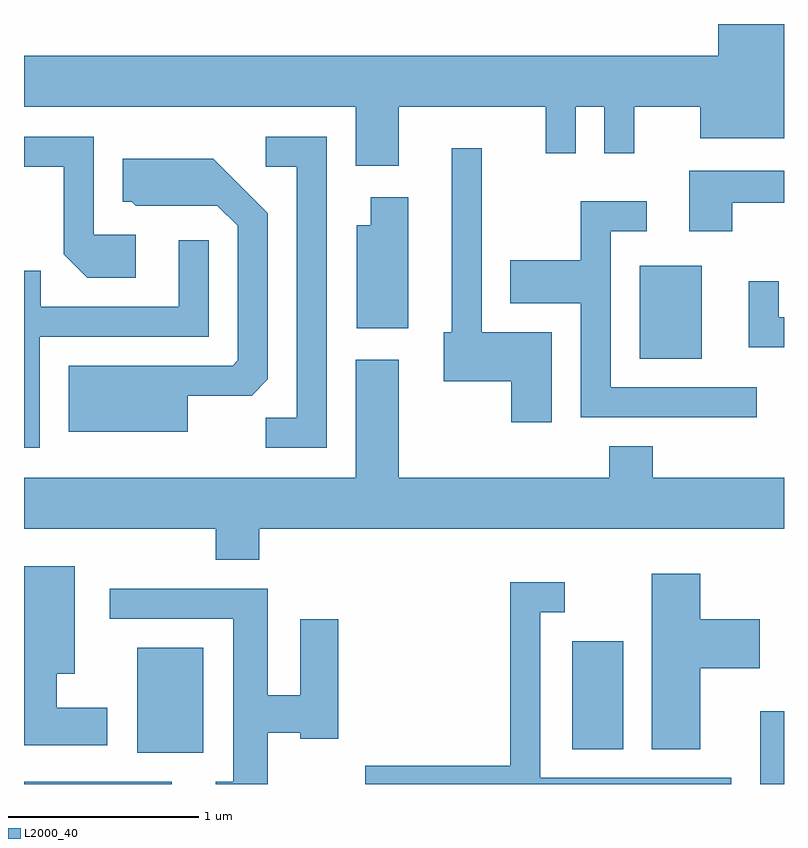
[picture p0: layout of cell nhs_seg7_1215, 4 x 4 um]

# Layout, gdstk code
import gdstk
lib = gdstk.Library(unit=1e-6, precision=1e-09)
def R(c, l, rs):  # rectangles x0, y0, x1, y1
    for r in rs: c.add(gdstk.rectangle(r[:2], r[2:], *l))
def P(c, l, *ps):  # polygons
    for p in ps: c.add(gdstk.Polygon(p, *l))
L2000_40 = (2000, 40)

nhs_seg7_1215 = lib.new_cell('nhs_seg7_1215')
R(nhs_seg7_1215, L2000_40, [(221.611,1766.252,222.389,1766.264), (225.486,1766.252,225.611,1766.634), (222.206,1766.416,222.554,1766.969), (224.496,1766.436,224.764,1767.004), (224.851,1768.491,225.179,1768.979), (221.611,1770.251,221.759,1770.252)])
P(nhs_seg7_1215, L2000_40, [(223.584,1769.816),(224.356,1769.816),(224.356,1769.573),(224.514,1769.573),(224.514,1769.816),(224.666,1769.816),(224.666,1769.573),(224.824,1769.573),(224.824,1769.816),(225.171,1769.816),(225.171,1769.651),(225.611,1769.651),(225.611,1770.252),(225.266,1770.252),(225.266,1770.084),(221.611,1770.084),(221.611,1769.816),(223.356,1769.816),(223.356,1769.506),(223.584,1769.506)],
  [(222.199,1769.144),(221.979,1769.144),(221.979,1769.659),(221.611,1769.659),(221.611,1769.501),(221.821,1769.501),(221.821,1769.039),(221.944,1768.916),(222.199,1768.916)],
  [(223.204,1769.659),(222.883,1769.659),(222.883,1769.501),(223.046,1769.501),(223.046,1768.179),(222.883,1768.179),(222.883,1768.021),(223.204,1768.021)],
  [(224.389,1768.629),(224.019,1768.629),(224.019,1769.598),(223.861,1769.598),(223.861,1768.629),(223.821,1768.629),(223.821,1768.371),(224.176,1768.371),(224.176,1768.156),(224.389,1768.156)],
  [(222.474,1768.296),(222.809,1768.296),(222.894,1768.382),(222.894,1769.257),(222.607,1769.544),(222.131,1769.544),(222.131,1769.316),(222.179,1769.316),(222.199,1769.296),(222.629,1769.296),(222.736,1769.189),(222.736,1768.482),(222.709,1768.454),(221.846,1768.454),(221.846,1768.106),(222.474,1768.106)],
  [(225.339,1769.311),(225.611,1769.311),(225.611,1769.479),(225.111,1769.479),(225.111,1769.161),(225.339,1769.161)],
  [(223.634,1769.339),(223.436,1769.339),(223.436,1769.194),(223.361,1769.194),(223.361,1768.651),(223.634,1768.651)],
  [(225.468,1768.339),(224.699,1768.339),(224.699,1769.161),(224.888,1769.161),(224.888,1769.319),(224.541,1769.319),(224.541,1769.009),(224.171,1769.009),(224.171,1768.781),(224.541,1768.781),(224.541,1768.181),(225.468,1768.181)],
  [(221.694,1768.606),(222.584,1768.606),(222.584,1769.113),(222.426,1769.113),(222.426,1768.764),(221.699,1768.764),(221.699,1768.953),(221.611,1768.953),(221.611,1768.021),(221.694,1768.021)],
  [(225.611,1768.709),(225.584,1768.709),(225.584,1768.898),(225.426,1768.898),(225.426,1768.551),(225.611,1768.551)],
  [(222.849,1767.596),(225.611,1767.596),(225.611,1767.864),(224.919,1767.864),(224.919,1768.029),(224.691,1768.029),(224.691,1767.864),(223.584,1767.864),(223.584,1768.484),(223.356,1768.484),(223.356,1767.864),(221.611,1767.864),(221.611,1767.596),(222.621,1767.596),(222.621,1767.431),(222.849,1767.431)],
  [(222.049,1766.654),(221.784,1766.654),(221.784,1766.831),(221.879,1766.831),(221.879,1767.399),(221.611,1767.399),(221.611,1766.456),(222.049,1766.456)],
  [(225.169,1766.861),(225.484,1766.861),(225.484,1767.119),(225.169,1767.119),(225.169,1767.359),(224.916,1767.359),(224.916,1766.436),(225.169,1766.436)],
  [(225.334,1766.284),(224.329,1766.284),(224.329,1767.156),(224.458,1767.156),(224.458,1767.314),(224.171,1767.314),(224.171,1766.349),(223.406,1766.349),(223.406,1766.252),(225.334,1766.252)],
  [(222.894,1766.521),(223.066,1766.521),(223.066,1766.491),(223.264,1766.491),(223.264,1767.119),(223.066,1767.119),(223.066,1766.719),(222.894,1766.719),(222.894,1767.279),(222.063,1767.279),(222.063,1767.121),(222.711,1767.121),(222.711,1766.264),(222.621,1766.264),(222.621,1766.252),(222.894,1766.252)])

lib.write_gds('nhs_seg7_1215.gds')
